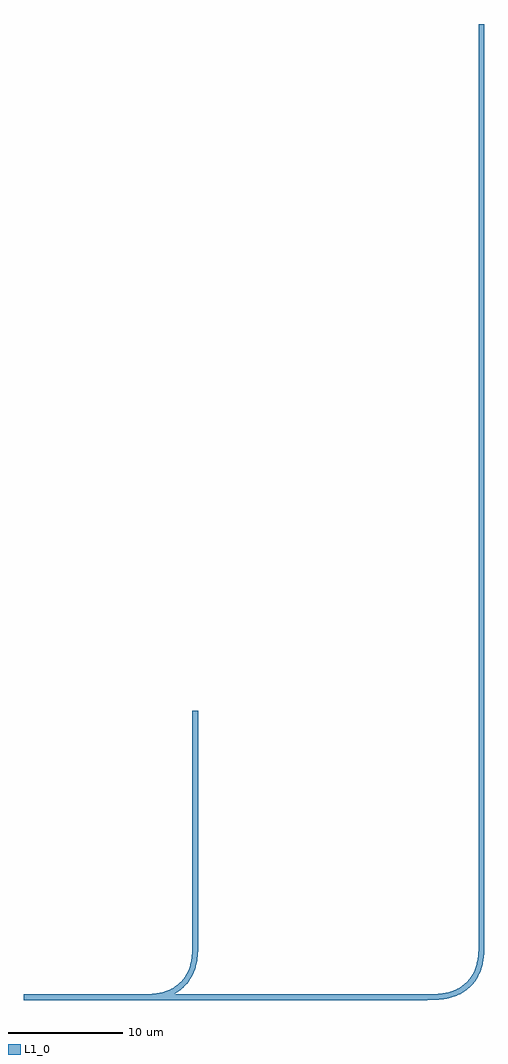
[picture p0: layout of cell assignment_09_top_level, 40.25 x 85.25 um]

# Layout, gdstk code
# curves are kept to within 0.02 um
from math import pi, radians
import gdstk
lib = gdstk.Library(unit=1e-6, precision=1e-09)
def R(c, l, rs):  # rectangles x0, y0, x1, y1
    for r in rs: c.add(gdstk.rectangle(r[:2], r[2:], *l))
def P(c, l, *ps):  # polygons
    for p in ps: c.add(gdstk.Polygon(p, *l))
L1_0 = (1, 0)

straight_gdsfactorypcomp = lib.new_cell('straight_gdsfactorypcomponentspwaveguidespstraight_L10__f2286423')
R(straight_gdsfactorypcomp, L1_0, [(0,-0.25,10,0.25)])

bend_euler_gdsfactorypco = lib.new_cell('bend_euler_gdsfactorypcomponentspbendspbend_euler_R5_A9_90a35c7e')
P(bend_euler_gdsfactorypco, L1_0, [(0,-0.25),(0,0.25),(1.36,0.294),(1.886,0.37),(2.268,0.462),(2.634,0.59),(3.02,0.78),(3.376,1.018),(3.699,1.301),(3.982,1.624),(4.22,1.98),(4.41,2.366),(4.538,2.732),(4.63,3.114),(4.706,3.64),(4.75,5),(5.25,5),(5.203,3.59),(5.121,3.018),(5.018,2.592),(4.872,2.174),(4.653,1.73),(4.379,1.319),(4.053,0.947),(3.681,0.621),(3.27,0.347),(2.826,0.128),(2.408,-0.018),(1.982,-0.121),(1.41,-0.203)])

c_straight_gdsfactorypcomp = lib.new_cell('straight_gdsfactorypcomponentspwaveguidespstraight_L20__31a8c163')
R(c_straight_gdsfactorypcomp, L1_0, [(0,-0.25,20,0.25)])

make_bent_waveguide_l10_ = lib.new_cell('make_bent_waveguide_L10_L20')
make_bent_waveguide_l10_.add(gdstk.Reference(straight_gdsfactorypcomp, (0,0)))
make_bent_waveguide_l10_.add(gdstk.Reference(bend_euler_gdsfactorypco, (10,0)))
make_bent_waveguide_l10_.add(gdstk.Reference(c_straight_gdsfactorypcomp, (15,5), rotation=pi/2))

c_straight_gdsfactorypcomp_ = lib.new_cell('straight_gdsfactorypcomponentspwaveguidespstraight_L25__e0f5a055')
R(c_straight_gdsfactorypcomp_, L1_0, [(0,-0.25,25,0.25)])

c_straight_gdsfactorypcomp__ = lib.new_cell('straight_gdsfactorypcomponentspwaveguidespstraight_L80__2dddf9c8')
R(c_straight_gdsfactorypcomp__, L1_0, [(0,-0.25,80,0.25)])

make_bent_waveguide_l25_ = lib.new_cell('make_bent_waveguide_L25_L80')
make_bent_waveguide_l25_.add(gdstk.Reference(c_straight_gdsfactorypcomp_, (0,0)))
make_bent_waveguide_l25_.add(gdstk.Reference(bend_euler_gdsfactorypco, (25,0)))
make_bent_waveguide_l25_.add(gdstk.Reference(c_straight_gdsfactorypcomp__, (30,5), rotation=pi/2))

assignment_09_top_level = lib.new_cell('assignment_09_top_level')
assignment_09_top_level.add(gdstk.Reference(make_bent_waveguide_l10_, (0,0)))
assignment_09_top_level.add(gdstk.Reference(make_bent_waveguide_l25_, (10,0)))

lib.write_gds('assignment_09_top_level.gds')
